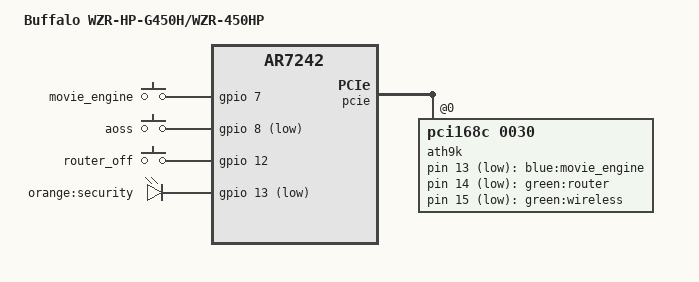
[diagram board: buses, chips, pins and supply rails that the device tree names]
// SPDX-License-Identifier: GPL-2.0-or-later OR MIT

#include "ar7242_buffalo_wzr-bhr.dtsi"

/ {
	compatible = "buffalo,wzr-hp-g450h", "qca,ar7242";
	model = "Buffalo WZR-HP-G450H/WZR-450HP";

	aliases {
		label-mac-device = &eth0;
	};

	ath9k-leds {
		compatible = "gpio-leds";

		led_movie_engine {
			label = "blue:movie_engine";
			gpios = <&ath9k 13 GPIO_ACTIVE_LOW>;
		};

		router {
			label = "green:router";
			gpios = <&ath9k 14 GPIO_ACTIVE_LOW>;
		};

		wireless {
			label = "green:wireless";
			gpios = <&ath9k 15 GPIO_ACTIVE_LOW>;
			linux,default-trigger = "phy0tpt";
		};
	};
};

&keys {
	movie_engine {
		label = "movie_engine";
		linux,code = <BTN_6>;
		linux,input-type = <EV_SW>;
		gpios = <&gpio 7 GPIO_ACTIVE_HIGH>;
		debounce-interval = <60>;
	};

	aoss {
		label = "aoss";
		linux,code = <KEY_WPS_BUTTON>;
		gpios = <&gpio 8 GPIO_ACTIVE_LOW>;
		debounce-interval = <60>;
	};

	router_off {
		label = "router_off";
		linux,code = <BTN_5>;
		linux,input-type = <EV_SW>;
		gpios = <&gpio 12 GPIO_ACTIVE_HIGH>;
		debounce-interval = <60>;
	};
};

&leds {
	sec_vpn {
		label = "orange:security";
		gpios = <&gpio 13 GPIO_ACTIVE_LOW>;
	};
};

&eth0 {
	nvmem-cells = <&macaddr_art_1002>;
	nvmem-cell-names = "mac-address";
};

&pcie {
	status = "okay";

	ath9k: wifi@0,0 {
		compatible = "pci168c,0030";
		reg = <0x0000 0 0 0 0>;
		nvmem-cells = <&macaddr_art_1002>;
		nvmem-cell-names = "mac-address";
		qca,no-eeprom;
		#gpio-cells = <2>;
		gpio-controller;
	};
};

&art {
	compatible = "nvmem-cells";
	#address-cells = <1>;
	#size-cells = <1>;

	macaddr_art_1002: macaddr@1002 {
		reg = <0x1002 0x6>;
	};
};
